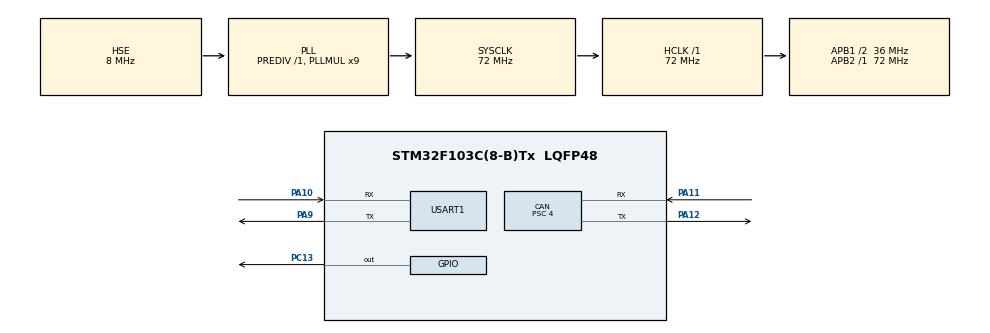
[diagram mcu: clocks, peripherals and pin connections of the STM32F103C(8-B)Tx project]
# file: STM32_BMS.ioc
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CAN.BS1=CAN_BS1_15TQ
CAN.BS2=CAN_BS2_2TQ
CAN.CalculateBaudRate=500000
CAN.CalculateTimeBit=2000
CAN.CalculateTimeQuantum=111.11111111111111
CAN.NART=ENABLE
CAN.Prescaler=4
FREERTOS.Tasks01=defaultTask,24,128,StartDefaultTask,Default,NULL,Dynamic,NULL,NULL
FREERTOS.configTOTAL_HEAP_SIZE=5120
Mcu.Family=STM32F1
Mcu.Name=STM32F103C(8-B)Tx
Mcu.Package=LQFP48
NVIC.PriorityGroup=NVIC_PRIORITYGROUP_4
NVIC.TIM1_UP_IRQn=true\:15\:0\:false\:false\:true\:false\:false\:true\:true
NVIC.TimeBase=TIM1_UP_IRQn
NVIC.TimeBaseIP=TIM1
NVIC.USART1_IRQn=true\:5\:0\:false\:false\:true\:true\:true\:true\:true
PA10.Mode=Asynchronous
PA10.Signal=USART1_RX
PA11.Mode=CAN_Activate
PA11.Signal=CAN_RX
PA12.Mode=CAN_Activate
PA12.Signal=CAN_TX
PA13.Mode=Serial_Wire
PA13.Signal=SYS_JTMS-SWDIO
PA14.Mode=Serial_Wire
PA14.Signal=SYS_JTCK-SWCLK
PA9.Mode=Asynchronous
PA9.Signal=USART1_TX
PC13-TAMPER-RTC.Signal=GPIO_Output
PD0-OSC_IN.Mode=HSE-External-Oscillator
PD0-OSC_IN.Signal=RCC_OSC_IN
PD1-OSC_OUT.Mode=HSE-External-Oscillator
PD1-OSC_OUT.Signal=RCC_OSC_OUT
ProjectManager.HeapSize=0x200
ProjectManager.StackSize=0x400
ProjectManager.TargetToolchain=MDK-ARM V5
RCC.AHBFreq_Value=72000000
RCC.APB1CLKDivider=RCC_HCLK_DIV2
RCC.APB1Freq_Value=36000000
RCC.APB1TimFreq_Value=72000000
RCC.APB2Freq_Value=72000000
RCC.APB2TimFreq_Value=72000000
RCC.HCLKFreq_Value=72000000
RCC.PLLMUL=RCC_PLL_MUL9
RCC.PLLSourceVirtual=RCC_PLLSOURCE_HSE
RCC.SYSCLKFreq_VALUE=72000000
RCC.SYSCLKSource=RCC_SYSCLKSOURCE_PLLCLK
RCC.USBFreq_Value=72000000
USART1.VirtualMode=VM_ASYNC
VP_FREERTOS_VS_CMSIS_V2.Mode=CMSIS_V2
VP_SYS_VS_tim1.Mode=TIM1
board=custom

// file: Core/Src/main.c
/* USER CODE BEGIN Header */
/**
  ******************************************************************************
  * @file           : main.c
  * @brief          : Main program body
  ******************************************************************************
  * @attention
  *
  * Copyright (c) 2026 STMicroelectronics.
  * All rights reserved.
  *
  * This software is licensed under terms that can be found in the LICENSE file
  * in the root directory of this software component.
  * If no LICENSE file comes with this software, it is provided AS-IS.
  *
  ******************************************************************************
  */
/* USER CODE END Header */
#include "main.h"
#include "cmsis_os.h"
#include "can.h"
#include "usart.h"
#include "gpio.h"

/* USER CODE BEGIN Includes */
#include <stdio.h>
/* USER CODE END Includes */

void SystemClock_Config(void);
void MX_FREERTOS_Init(void);
/* USER CODE BEGIN PFP */
int fputc(int ch, FILE *f)
{
    HAL_UART_Transmit(&huart1, (uint8_t *)&ch, 1, HAL_MAX_DELAY);
    return ch;
}

/* USER CODE END PFP */

int main(void)
{

  /* MCU Configuration--------------------------------------------------------*/

  /* Reset of all peripherals, Initializes the Flash interface and the Systick. */
  HAL_Init();

  /* Configure the system clock */
  SystemClock_Config();

  /* Initialize all configured peripherals */
  MX_GPIO_Init();
  MX_USART1_UART_Init();
  MX_CAN_Init();
  /* USER CODE BEGIN 2 */
printf("BMS Simulator Stage0 Start!\r\n");
  /* USER CODE END 2 */

  /* Init scheduler */
  osKernelInitialize();  /* Call init function for freertos objects (in cmsis_os2.c) */
  MX_FREERTOS_Init();

  /* Start scheduler */
  osKernelStart();

  /* We should never get here as control is now taken by the scheduler */

  /* Infinite loop */
  while (1)
  {

  }
}

void SystemClock_Config(void)
{
  RCC_OscInitTypeDef RCC_OscInitStruct = {0};
  RCC_ClkInitTypeDef RCC_ClkInitStruct = {0};

  /** Initializes the RCC Oscillators according to the specified parameters
  * in the RCC_OscInitTypeDef structure.
  */
  RCC_OscInitStruct.OscillatorType = RCC_OSCILLATORTYPE_HSE;
  RCC_OscInitStruct.HSEState = RCC_HSE_ON;
  RCC_OscInitStruct.HSEPredivValue = RCC_HSE_PREDIV_DIV1;
  RCC_OscInitStruct.HSIState = RCC_HSI_ON;
  RCC_OscInitStruct.PLL.PLLState = RCC_PLL_ON;
  RCC_OscInitStruct.PLL.PLLSource = RCC_PLLSOURCE_HSE;
  RCC_OscInitStruct.PLL.PLLMUL = RCC_PLL_MUL9;
  if (HAL_RCC_OscConfig(&RCC_OscInitStruct) != HAL_OK)
  {
    Error_Handler();
  }

  /** Initializes the CPU, AHB and APB buses clocks
  */
  RCC_ClkInitStruct.ClockType = RCC_CLOCKTYPE_HCLK|RCC_CLOCKTYPE_SYSCLK
                              |RCC_CLOCKTYPE_PCLK1|RCC_CLOCKTYPE_PCLK2;
  RCC_ClkInitStruct.SYSCLKSource = RCC_SYSCLKSOURCE_PLLCLK;
  RCC_ClkInitStruct.AHBCLKDivider = RCC_SYSCLK_DIV1;
  RCC_ClkInitStruct.APB1CLKDivider = RCC_HCLK_DIV2;
  RCC_ClkInitStruct.APB2CLKDivider = RCC_HCLK_DIV1;

  if (HAL_RCC_ClockConfig(&RCC_ClkInitStruct, FLASH_LATENCY_2) != HAL_OK)
  {
    Error_Handler();
  }
}

void HAL_TIM_PeriodElapsedCallback(TIM_HandleTypeDef *htim)
{
  if (htim->Instance == TIM1)
  {
    HAL_IncTick();
  }
}

void Error_Handler(void)
{
  __disable_irq();
  while (1)
  {
  }
}

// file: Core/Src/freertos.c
/* USER CODE BEGIN Header */
/**
  ******************************************************************************
  * File Name          : freertos.c
  * Description        : Code for freertos applications
  ******************************************************************************
  */
/* USER CODE END Header */

#include "FreeRTOS.h"
#include "task.h"
#include "main.h"
#include "cmsis_os.h"

/* USER CODE BEGIN Includes */
#include <string.h>
#include <stdio.h>
#include "can.h"           // 【新增】HAL CAN句柄hcan
#include "can_driver.h"    // 【新增】can_send、can_driver_init
extern UART_HandleTypeDef huart1;   // 声明外部串口句柄
/* USER CODE END Includes */

/* USER CODE BEGIN PTD */
/* CanMsgTypeDef 在 can_driver.h 中定义 */
/* USER CODE END PTD */

/* USER CODE BEGIN Variables */
// 模拟数据变量（可以在调试器中随时修改）
static uint16_t sim_voltage = 3200;   // 320.0V（单位：0.1V）
static int16_t sim_current = 123;    // 12.3A，乘10
static int8_t sim_temperature = 25;  // 25℃
static uint8_t sim_enable_send = 1;  // 1=发送 0=停止（模拟通信丢失）

#define UDS_TEST_NUM  (sizeof(uds_tests)/sizeof(uds_tests[0]))
/* USER CODE END Variables */
/* Definitions for defaultTask */
osThreadId_t defaultTaskHandle;
const osThreadAttr_t defaultTask_attributes = {
  .name = "defaultTask",
  .stack_size = 128 * 4,
  .priority = (osPriority_t) osPriorityNormal,
};

void StartDefaultTask(void *argument);

void MX_FREERTOS_Init(void); /* (MISRA C 2004 rule 8.1) */

void MX_FREERTOS_Init(void) {

  /* Create the thread(s) */
  /* creation of defaultTask */
  defaultTaskHandle = osThreadNew(StartDefaultTask, NULL, &defaultTask_attributes);

  /* USER CODE BEGIN RTOS_THREADS */
  /* 如需添加其他任务，可在此处添加 */
  /* USER CODE END RTOS_THREADS */

}

void StartDefaultTask(void *argument)
{
  /* USER CODE BEGIN StartDefaultTask */
  can_driver_init();
  for(;;)
  {
    can_check_and_recover_busoff();   // Bus-Off检测与自动恢复，每100ms检查一次
    if (sim_enable_send)
    {
      CanMsgTypeDef sim_msg;
      sim_msg.id = 0x18000501U;
      sim_msg.len = 8;
      sim_msg.data[0] = (uint8_t)(sim_voltage & 0xFF);
      sim_msg.data[1] = (uint8_t)((sim_voltage >> 8) & 0xFF);
      sim_msg.data[2] = (uint8_t)(sim_current & 0xFF);
      sim_msg.data[3] = (uint8_t)((sim_current >> 8) & 0xFF);
      sim_msg.data[4] = (uint8_t)sim_temperature;
      sim_msg.data[5] = 0;
      sim_msg.data[6] = 0;
      sim_msg.data[7] = 0;
      can_send(&sim_msg);
    }
    HAL_GPIO_TogglePin(GPIOC, GPIO_PIN_13);  // 心跳灯
    osDelay(100);   // 100ms发一帧
  }
  /* USER CODE END StartDefaultTask */
  }
